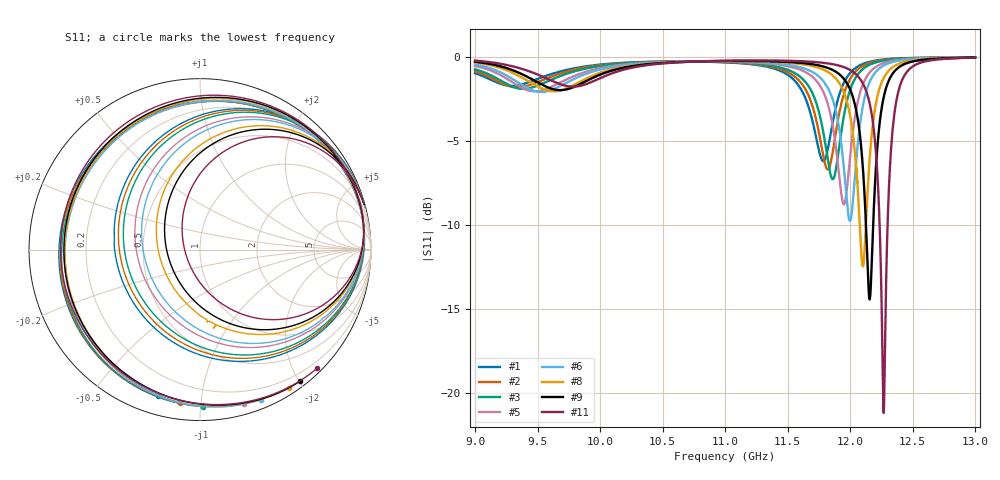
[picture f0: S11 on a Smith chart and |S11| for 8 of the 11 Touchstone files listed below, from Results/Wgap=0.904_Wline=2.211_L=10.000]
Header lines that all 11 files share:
! TOUCHSTONE file generated by CST DESIGN STUDIO
! Project name: C:\Work\MatlabApps\UnitCellOptimizationMatlab\CST\unitcell.cst
! Tree item: Tasks\Sweep1\SPara1\S-Parameters
! Header version: 2024
! Port assignment regex: !\s*Touchstone port\s*([0-9]+)\s*=\s*(CST MWS port|CST DES external port|CST DES block port)\s*(.+)\s* \(\"(.*)\"\)(\s*mode\s*([0-9]+))?.*
! Touchstone port assignment:
! Touchstone port 1 = CST DES external port 1 ("")
# GHz S MA R 50
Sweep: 9 GHz to 13 GHz
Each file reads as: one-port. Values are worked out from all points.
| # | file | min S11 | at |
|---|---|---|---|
| 1 | DS_for_MWS-run-0001.s1p | -6.2 dB | 11.79 GHz |
| 2 | DS_for_MWS-run-0002.s1p | -6.7 dB | 11.82 GHz |
| 3 | DS_for_MWS-run-0003.s1p | -7.3 dB | 11.86 GHz |
| 4 | DS_for_MWS-run-0004.s1p | -8.0 dB | 11.9 GHz |
| 5 | DS_for_MWS-run-0005.s1p | -8.8 dB | 11.95 GHz |
| 6 | DS_for_MWS-run-0006.s1p | -9.8 dB | 12 GHz |
| 7 | DS_for_MWS-run-0007.s1p | -11.0 dB | 12.05 GHz |
| 8 | DS_for_MWS-run-0008.s1p | -12.5 dB | 12.1 GHz |
| 9 | DS_for_MWS-run-0009.s1p | -14.4 dB | 12.16 GHz |
| 10 | DS_for_MWS-run-0010.s1p | -17.1 dB | 12.21 GHz |
| 11 | DS_for_MWS-run-0011.s1p | -21.2 dB | 12.27 GHz |
